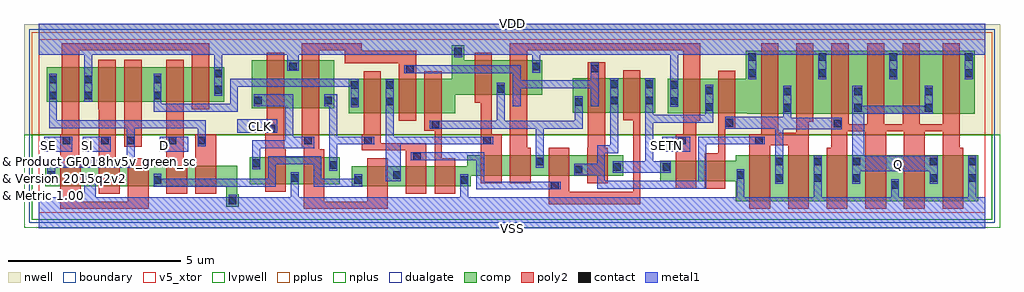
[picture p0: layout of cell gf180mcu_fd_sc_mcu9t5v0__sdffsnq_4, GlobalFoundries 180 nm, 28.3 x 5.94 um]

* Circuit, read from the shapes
.subckt gf180mcu_fd_sc_mcu9t5v0__sdffsnq_4 CLK D Q SE SETN SI VDD VSS
XM1 VSS SE n1 VSUBS nfet_05v0 w=0.59u l=0.6u
XM2 n2 SI VSS VSUBS nfet_05v0 w=0.59u l=0.6u
XM3 n3 SE n2 VSUBS nfet_05v0 w=0.59u l=0.6u
XM4 n4 D n3 VSUBS nfet_05v0 w=0.59u l=0.6u
XM5 VSS n1 n4 VSUBS nfet_05v0 w=0.59u l=0.6u
XM6 VSS CLK n5 VSUBS nfet_05v0 w=0.79u l=0.6u
XM7 n6 n5 VSS VSUBS nfet_05v0 w=0.79u l=0.6u
XM8 n7 n5 n3 VSUBS nfet_05v0 w=0.59u l=0.6u
XM9 n8 n6 n7 VSUBS nfet_05v0 w=0.59u l=0.6u
XM10 VSS n9 n8 VSUBS nfet_05v0 w=0.59u l=0.6u
XM11 n10 n7 VSS VSUBS nfet_05v0 w=0.59u l=0.6u
XM12 n9 SETN n10 VSUBS nfet_05v0 w=0.59u l=0.6u
XM13 n11 n6 n9 VSUBS nfet_05v0 w=0.59u l=0.6u
XM14 n12 n5 n11 VSUBS nfet_05v0 w=0.59u l=0.6u
XM15 n13 SETN n12 VSUBS nfet_05v0 w=0.59u l=0.6u
XM16 VSS n14 n13 VSUBS nfet_05v0 w=0.59u l=0.6u
XM17 n14 n11 VSS VSUBS nfet_05v0 w=1.32u l=0.6u m=2
XM18 Q n14 VSS VSUBS nfet_05v0 w=1.32u l=0.6u m=4
XM19 VDD SE n1 n15 pfet_05v0 w=1u l=0.5u
XM20 n16 SI VDD n15 pfet_05v0 w=1u l=0.5u
XM21 n17 n1 n16 n15 pfet_05v0 w=1u l=0.5u
XM22 n18 D n17 n15 pfet_05v0 w=1u l=0.5u
XM23 VDD SE n18 n15 pfet_05v0 w=1u l=0.5u
XM24 VDD CLK n5 n15 pfet_05v0 w=1.38u l=0.5u
XM25 n6 n5 VDD n15 pfet_05v0 w=1.38u l=0.5u
XM26 n7 n6 n17 n15 pfet_05v0 w=1u l=0.5u
XM27 n19 n5 n7 n15 pfet_05v0 w=1u l=0.5u
XM28 VDD n9 n19 n15 pfet_05v0 w=1u l=0.5u
XM29 n9 n7 VDD n15 pfet_05v0 w=1u l=0.5u
XM30 VDD SETN n9 n15 pfet_05v0 w=1u l=0.5u
XM31 n11 n5 n9 n15 pfet_05v0 w=1u l=0.5u
XM32 n12 n6 n11 n15 pfet_05v0 w=1u l=0.5u
XM33 n12 SETN VDD n15 pfet_05v0 w=1u l=0.5u
XM34 VDD n14 n12 n15 pfet_05v0 w=1u l=0.5u
XM35 n14 n11 VDD n15 pfet_05v0 w=1.83u l=0.5u m=2
XM36 Q n14 VDD n15 pfet_05v0 w=1.83u l=0.5u m=4
.ends

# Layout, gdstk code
import gdstk
lib = gdstk.Library(unit=1e-6, precision=1e-09)
def R(c, l, rs):  # rectangles x0, y0, x1, y1
    for r in rs: c.add(gdstk.rectangle(r[:2], r[2:], *l))
def A(c, l, x, y, w, h, nx, ny, dx, dy):  # array of equal rectangles
    R(c, l, [(x+i*dx, y+j*dy, x+i*dx+w, y+j*dy+h) for i in range(nx) for j in range(ny)])
def P(c, l, *ps):  # polygons
    for p in ps: c.add(gdstk.Polygon(p, *l))
boundary = (0, 0)
nwell = (21, 0)
comp = (22, 0)
poly2 = (30, 0)
pplus = (31, 0)
nplus = (32, 0)
contact = (33, 0)
metal1 = (34, 0)
dualgate = (55, 0)
v5_xtor = (112, 1)
lvpwell = (204, 0)

gf180mcu_fd_sc_mcu9t5v0_ = lib.new_cell('gf180mcu_fd_sc_mcu9t5v0__sdffsnq_4')
R(gf180mcu_fd_sc_mcu9t5v0_, boundary, [(0,0,27.44,5.04)])
R(gf180mcu_fd_sc_mcu9t5v0_, nwell, [(-0.43,2.265,27.87,5.47)])
R(gf180mcu_fd_sc_mcu9t5v0_, comp, [(6.12,0.83,8.72,1.62), (15.48,2.91,17.88,3.91), (6.17,3.04,8.57,4.42), (0.23,3.22,5.38,4.22)])
P(gf180mcu_fd_sc_mcu9t5v0_, comp, [(5.44,0.18),(5.44,0.78),(0.18,0.78),(0.18,1.37),(5.76,1.37),(5.76,0.535),(5.8,0.535),(5.8,0.18)],
  [(8.98,2.885),(8.98,3.885),(11.98,3.885),(11.98,4.86),(12.34,4.86),(12.34,4.42),(14.6,4.42),(14.6,3.42),(12.08,3.42),(12.08,2.885)],
  [(9.08,0.77),(9.08,1.36),(12.42,1.36),(12.42,1.665),(16.94,1.665),(16.94,1.075),(12.52,1.075),(12.52,0.77)],
  [(20.54,2.87),(20.54,2.895),(18.24,2.895),(18.24,3.895),(20.5,3.895),(20.5,4.7),(27.145,4.7),(27.145,2.87)],
  [(20.205,0.345),(20.205,0.92),(18.025,0.92),(18.025,1.51),(20.205,1.51),(20.205,1.665),(27.245,1.665),(27.245,0.345)])
R(gf180mcu_fd_sc_mcu9t5v0_, poly2, [(4.54,0.56,5.14,2.28), (2.48,1.92,2.98,4.44)])
P(gf180mcu_fd_sc_mcu9t5v0_, poly2, [(1.74,0.56),(1.74,3),(1.725,3),(1.725,4.44),(2.225,4.44),(2.225,1.59),(2.34,1.59),(2.34,0.56)],
  [(3.7,0.56),(3.7,4.44),(4.2,4.44),(4.2,1.59),(4.3,1.59),(4.3,0.56)],
  [(0.62,0.12),(0.62,2.28),(0.67,2.28),(0.67,4.92),(4.94,4.92),(4.94,3),(4.44,3),(4.44,4.72),(1.17,4.72),(1.17,1.59),(1.22,1.59),(1.22,0.32),(2.58,0.32),(2.58,1.59),(3.18,1.59),(3.18,0.12)],
  [(6.56,0.61),(6.56,2.625),(6.61,2.625),(6.61,4.64),(7.11,4.64),(7.11,1.84),(7.16,1.84),(7.16,0.61)],
  [(7.68,0.12),(7.68,1.92),(7.63,1.92),(7.63,4.92),(9.37,4.92),(9.37,4.705),(10.94,4.705),(10.94,2.665),(10.44,2.665),(10.44,4.345),(8.87,4.345),(8.87,4.72),(8.13,4.72),(8.13,1.84),(8.28,1.84),(8.28,0.32),(9.52,0.32),(9.52,1.58),(10.12,1.58),(10.12,0.12)],
  [(10.64,0.55),(10.64,1.82),(9.37,1.82),(9.37,2.28),(9.42,2.28),(9.42,4.105),(9.92,4.105),(9.92,2.02),(11.24,2.02),(11.24,0.55)],
  [(11.48,0.55),(11.48,2.38),(11.18,2.38),(11.18,4.105),(11.68,4.105),(11.68,1.58),(12.08,1.58),(12.08,0.55)],
  [(12.82,0.855),(12.82,3.2),(12.64,3.2),(12.64,4.64),(13.14,4.64),(13.14,2.275),(13.42,2.275),(13.42,0.855)],
  [(15.9,0.855),(15.9,1.885),(15.92,1.885),(15.92,4.37),(16.42,4.37),(16.42,1.885),(16.5,1.885),(16.5,0.855)],
  [(14.78,0.255),(14.78,1.885),(15.38,1.885),(15.38,0.615),(17.24,0.615),(17.24,2.69),(16.94,2.69),(16.94,4.13),(17.44,4.13),(17.44,0.255)],
  [(18.465,0.7),(18.465,2.28),(18.68,2.28),(18.68,4.72),(14.16,4.72),(14.16,1.885),(14.26,1.885),(14.26,0.855),(13.66,0.855),(13.66,4.92),(19.18,4.92),(19.18,2.675),(19.065,2.675),(19.065,0.7)],
  [(19.305,0.7),(19.305,1.73),(19.7,1.73),(19.7,4.115),(20.2,4.115),(20.2,2.435),(19.905,2.435),(19.905,0.7)],
  [(20.605,0.125),(20.605,2.28),(20.94,2.28),(20.94,4.92),(21.44,4.92),(21.44,2.325),(21.96,2.325),(21.96,4.92),(22.46,4.92),(22.46,2.65),(22.325,2.65),(22.325,0.125),(21.725,0.125),(21.725,1.965),(21.205,1.965),(21.205,0.125)],
  [(22.845,0.125),(22.845,1.885),(22.98,1.885),(22.98,4.92),(23.48,4.92),(23.48,2.57),(24.015,2.57),(24.015,4.92),(24.515,4.92),(24.515,2.57),(25.045,2.57),(25.045,4.92),(25.545,4.92),(25.545,2.57),(26.205,2.57),(26.205,4.92),(26.705,4.92),(26.705,1.885),(26.805,1.885),(26.805,0.125),(26.205,0.125),(26.205,2.37),(25.685,2.37),(25.685,0.125),(25.085,0.125),(25.085,2.37),(24.565,2.37),(24.565,0.125),(23.965,0.125),(23.965,2.37),(23.445,2.37),(23.445,0.125)])
R(gf180mcu_fd_sc_mcu9t5v0_, pplus, [(-0.2,2.265,27.64,5.24)])
R(gf180mcu_fd_sc_mcu9t5v0_, nplus, [(-0.2,-0.2,27.64,2.265)])
A(gf180mcu_fd_sc_mcu9t5v0_, contact, 21.355, 0.905, 0.22, 0.22, 3, 2, 1.12, 0.47)
R(gf180mcu_fd_sc_mcu9t5v0_, contact, [(5.51,0.25,5.73,0.47), (14.85,0.685,15.07,0.905), (24.715,0.7,24.935,0.92), (9.15,0.84,9.37,1.06), (12.23,0.84,12.45,1.06), (1.37,0.85,1.59,1.07), (3.33,0.85,3.55,1.07), (7.31,0.9,7.53,1.12), (25.835,0.905,26.055,1.125), (26.955,0.905,27.175,1.125), (0.25,0.985,0.47,1.205), (10.27,0.985,10.49,1.205), (20.235,0.985,20.455,1.205), (15.53,1.145,15.75,1.365), (16.65,1.22,16.87,1.44), (18.095,1.22,18.315,1.44), (8.43,1.28,8.65,1.5), (6.19,1.33,6.41,1.55), (14.41,1.375,14.63,1.595), (25.835,1.375,26.055,1.595), (26.955,1.375,27.175,1.595), (10.85,1.53,11.07,1.75), (0.69,1.99,0.91,2.21), (1.81,1.99,2.03,2.21), (2.55,1.99,2.77,2.21), (3.77,1.99,3.99,2.21), (4.61,1.99,4.83,2.21), (7.7,1.99,7.92,2.21), (9.44,1.99,9.66,2.21), (12.89,1.99,13.11,2.21), (18.535,1.99,18.755,2.21), (20.775,1.99,20.995,2.21), (6.63,2.335,6.85,2.555), (11.39,2.45,11.61,2.67), (23.05,2.48,23.27,2.7), (19.91,2.505,20.13,2.725), (21.59,2.94,21.81,3.16), (23.645,2.94,23.865,3.16), (25.695,2.94,25.915,3.16), (19.33,2.965,19.55,3.185), (15.55,3.1,15.77,3.32), (9.05,3.125,9.27,3.345), (10.07,3.125,10.29,3.345), (18.31,3.135,18.53,3.355), (16.57,3.15,16.79,3.37), (17.59,3.15,17.81,3.37), (6.24,3.155,6.46,3.375), (8.28,3.155,8.5,3.375), (0.3,3.29,0.52,3.51), (1.32,3.29,1.54,3.51), (3.33,3.29,3.55,3.51), (21.59,3.41,21.81,3.63), (23.645,3.41,23.865,3.63), (25.695,3.41,25.915,3.63), (19.33,3.435,19.55,3.655), (5.09,3.46,5.31,3.68), (13.29,3.49,13.51,3.71), (9.05,3.595,9.27,3.815), (10.07,3.595,10.29,3.815), (18.31,3.605,18.53,3.825), (16.57,3.62,16.79,3.84), (17.59,3.62,17.81,3.84), (0.3,3.76,0.52,3.98), (1.32,3.76,1.54,3.98), (3.33,3.76,3.55,3.98), (5.09,3.93,5.31,4.15), (20.57,3.94,20.79,4.16), (22.61,3.94,22.83,4.16), (24.665,3.94,24.885,4.16), (26.855,3.94,27.075,4.16), (10.65,4.055,10.87,4.275), (16.01,4.08,16.23,4.3), (7.26,4.13,7.48,4.35), (14.31,4.13,14.53,4.35), (20.57,4.41,20.79,4.63), (22.61,4.41,22.83,4.63), (24.665,4.41,24.885,4.63), (26.855,4.41,27.075,4.63), (12.05,4.57,12.27,4.79)])
R(gf180mcu_fd_sc_mcu9t5v0_, metal1, [(0.15,1.77,0.97,2.215), (1.27,1.77,2.09,2.215), (3.51,1.77,4.33,2.215), (18.07,1.77,18.89,2.215), (5.75,2.33,6.91,2.71)])
P(gf180mcu_fd_sc_mcu9t5v0_, metal1, [(0.245,0.925),(0.245,1.54),(2.545,1.54),(2.545,2.455),(0.295,2.455),(0.295,4.04),(0.525,4.04),(0.525,2.685),(4.835,2.685),(4.835,1.93),(4.605,1.93),(4.605,2.455),(2.775,2.455),(2.775,1.31),(0.475,1.31),(0.475,0.925)],
  [(6.185,1.27),(6.185,2.1),(7.14,2.1),(7.14,3.095),(6.235,3.095),(6.235,3.435),(7.37,3.435),(7.37,2.215),(7.98,2.215),(7.98,1.87),(6.415,1.87),(6.415,1.27)],
  [(3.325,2.94),(3.325,4.04),(3.555,4.04),(3.555,3.17),(5.545,3.17),(5.545,3.895),(9.275,3.895),(9.275,3.065),(9.045,3.065),(9.045,3.665),(5.775,3.665),(5.775,2.94)],
  [(3.325,0.76),(3.325,1.13),(3.555,1.13),(3.555,0.99),(6.645,0.99),(6.645,1.64),(8.195,1.64),(8.195,0.99),(9.145,0.99),(9.145,1.12),(9.375,1.12),(9.375,0.76),(7.965,0.76),(7.965,1.41),(6.875,1.41),(6.875,0.76)],
  [(8.425,1.22),(8.425,3.095),(8.275,3.095),(8.275,3.435),(8.655,3.435),(8.655,2.215),(9.72,2.215),(9.72,1.985),(8.655,1.985),(8.655,1.22)],
  [(10.065,0.925),(10.065,3.875),(10.295,3.875),(10.295,2.215),(13.17,2.215),(13.17,1.985),(10.495,1.985),(10.495,0.925)],
  [(12.685,0.68),(12.685,1.525),(10.79,1.525),(10.79,1.755),(12.915,1.755),(12.915,0.91),(15.13,0.91),(15.13,0.68)],
  [(14.405,1.315),(14.405,2.445),(11.33,2.445),(11.33,2.675),(13.285,2.675),(13.285,3.77),(13.515,3.77),(13.515,2.675),(15.545,2.675),(15.545,3.38),(15.775,3.38),(15.775,2.445),(14.635,2.445),(14.635,1.315)],
  [(13.745,3.095),(13.745,4.05),(10.59,4.05),(10.59,4.28),(13.975,4.28),(13.975,3.84),(16.005,3.84),(16.005,4.36),(16.235,4.36),(16.235,3.095),(16.005,3.095),(16.005,3.61),(13.975,3.61),(13.975,3.095)],
  [(16.645,1.16),(16.645,1.5),(17.585,1.5),(17.585,3.9),(17.815,3.9),(17.815,2.845),(19.325,2.845),(19.325,3.715),(19.555,3.715),(19.555,2.615),(17.815,2.615),(17.815,1.5),(18.32,1.5),(18.32,1.16)],
  [(16.185,0.7),(16.185,1.085),(15.525,1.085),(15.525,1.425),(16.185,1.425),(16.185,1.96),(16.565,1.96),(16.565,3.9),(16.795,3.9),(16.795,1.73),(16.415,1.73),(16.415,0.93),(19.12,0.93),(19.12,2.215),(21.055,2.215),(21.055,1.985),(19.35,1.985),(19.35,0.7)],
  [(21.35,0.845),(21.35,2.445),(19.905,2.445),(19.905,2.785),(21.585,2.785),(21.585,3.69),(21.815,3.69),(21.815,2.76),(23.275,2.76),(23.275,2.42),(21.58,2.42),(21.58,0.845)],
  [(23.59,0.845),(23.59,3.69),(23.87,3.69),(23.87,3.11),(25.69,3.11),(25.69,3.69),(25.92,3.69),(25.92,2.88),(23.93,2.88),(23.93,1.655),(26.06,1.655),(26.06,0.845),(25.83,0.845),(25.83,1.21),(23.82,1.21),(23.82,0.845)],
  [(0,-0.45),(0,0.45),(1.31,0.45),(1.31,1.075),(1.65,1.075),(1.65,0.45),(5.505,0.45),(5.505,0.53),(5.735,0.53),(5.735,0.45),(7.305,0.45),(7.305,1.18),(7.535,1.18),(7.535,0.45),(12.225,0.45),(12.225,1.12),(12.455,1.12),(12.455,0.45),(20.23,0.45),(20.23,1.265),(20.46,1.265),(20.46,0.45),(22.47,0.45),(22.47,1.655),(22.7,1.655),(22.7,0.45),(24.71,0.45),(24.71,0.98),(24.94,0.98),(24.94,0.45),(26.95,0.45),(26.95,1.655),(27.18,1.655),(27.18,0.45),(27.44,0.45),(27.44,-0.45)],
  [(18.305,3.075),(18.305,4.59),(14.535,4.59),(14.535,4.07),(14.305,4.07),(14.305,4.59),(12.275,4.59),(12.275,4.51),(12.045,4.51),(12.045,4.59),(7.54,4.59),(7.54,4.125),(7.2,4.125),(7.2,4.59),(5.315,4.59),(5.315,3.4),(5.085,3.4),(5.085,4.59),(1.545,4.59),(1.545,3.23),(1.315,3.23),(1.315,4.59),(0,4.59),(0,5.49),(27.44,5.49),(27.44,4.59),(27.08,4.59),(27.08,3.88),(26.85,3.88),(26.85,4.59),(24.89,4.59),(24.89,3.88),(24.66,3.88),(24.66,4.59),(22.835,4.59),(22.835,3.88),(22.605,3.88),(22.605,4.59),(20.795,4.59),(20.795,3.88),(20.565,3.88),(20.565,4.59),(18.535,4.59),(18.535,3.075)])
R(gf180mcu_fd_sc_mcu9t5v0_, dualgate, [(-0.28,-0.28,27.72,5.32)])
R(gf180mcu_fd_sc_mcu9t5v0_, v5_xtor, [(0,0,27.44,5.04)])
R(gf180mcu_fd_sc_mcu9t5v0_, lvpwell, [(-0.43,-0.43,27.87,2.265)])
gf180mcu_fd_sc_mcu9t5v0_.add(gdstk.Label('CLK', (6.44,2.52), layer=34, texttype=10))
gf180mcu_fd_sc_mcu9t5v0_.add(gdstk.Label('D', (3.64,1.96), layer=34, texttype=10))
gf180mcu_fd_sc_mcu9t5v0_.add(gdstk.Label('Q', (24.92,1.4), layer=34, texttype=10))
gf180mcu_fd_sc_mcu9t5v0_.add(gdstk.Label('SE', (0.28,1.96), layer=34, texttype=10))
gf180mcu_fd_sc_mcu9t5v0_.add(gdstk.Label('SETN', (18.2,1.96), layer=34, texttype=10))
gf180mcu_fd_sc_mcu9t5v0_.add(gdstk.Label('SI', (1.4,1.96), layer=34, texttype=10))
gf180mcu_fd_sc_mcu9t5v0_.add(gdstk.Label('VDD', (13.72,5.49), layer=34, texttype=10))
gf180mcu_fd_sc_mcu9t5v0_.add(gdstk.Label('VSS', (13.72,-0.45), layer=34, texttype=10))
gf180mcu_fd_sc_mcu9t5v0_.add(gdstk.Label('& Vendor GLOBALFOUNDRIES', (0,2), layer=63, texttype=63))
gf180mcu_fd_sc_mcu9t5v0_.add(gdstk.Label('& Product GF018hv5v_green_sc9', (0,1.5), layer=63, texttype=63))
gf180mcu_fd_sc_mcu9t5v0_.add(gdstk.Label('& Version 2015q2v2', (0,1), layer=63, texttype=63))
gf180mcu_fd_sc_mcu9t5v0_.add(gdstk.Label('& Metric 1.00', (0,0.5), layer=63, texttype=63))

lib.write_gds('gf180mcu_fd_sc_mcu9t5v0__sdffsnq_4.gds')
